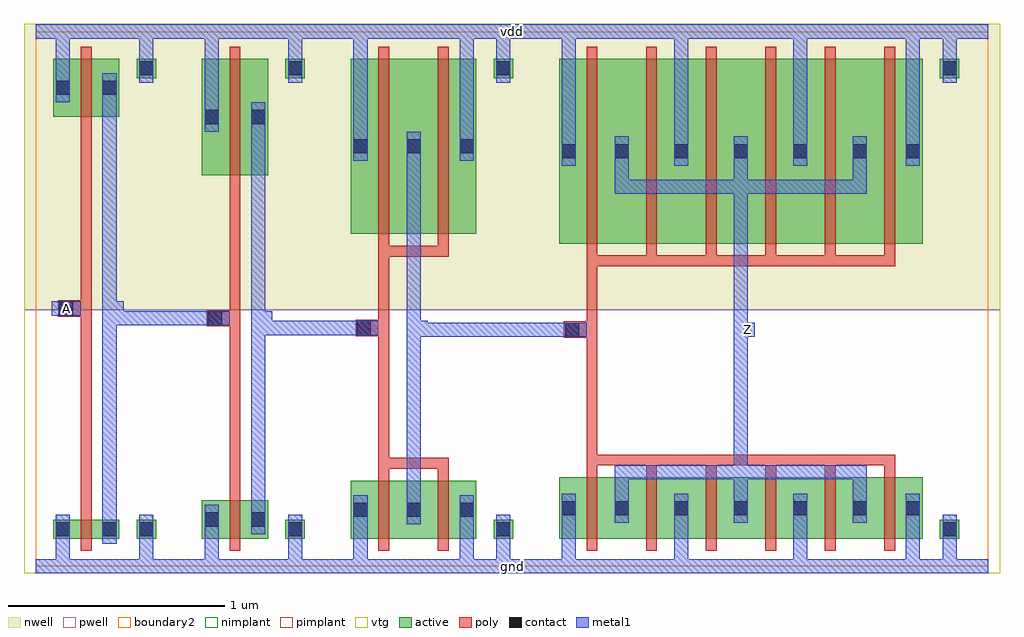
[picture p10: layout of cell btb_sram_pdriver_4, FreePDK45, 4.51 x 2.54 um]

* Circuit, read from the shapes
.subckt btb_sram_pdriver_4 A Z gnd vdd
M1 btb_sram_pinv_14_1/A A gnd gnd nfet w=0.09u l=0.05u
M2 btb_sram_pinv_15_2/A btb_sram_pinv_14_1/A gnd gnd nfet w=0.18u l=0.05u
M3 btb_sram_pinv_16_3/A btb_sram_pinv_15_2/A gnd gnd nfet w=0.27u l=0.05u m=2
M4 Z btb_sram_pinv_16_3/A gnd gnd nfet w=0.285u l=0.05u m=6
M5 btb_sram_pinv_14_1/A A vdd vdd pfet w=0.27u l=0.05u
M6 btb_sram_pinv_15_2/A btb_sram_pinv_14_1/A vdd vdd pfet w=0.54u l=0.05u
M7 btb_sram_pinv_16_3/A btb_sram_pinv_15_2/A vdd vdd pfet w=0.81u l=0.05u m=2
M8 Z btb_sram_pinv_16_3/A vdd vdd pfet w=0.855u l=0.05u m=6
.ends

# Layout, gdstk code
import gdstk
lib = gdstk.Library(unit=1e-6, precision=5e-10)
def R(c, l, rs):  # rectangles x0, y0, x1, y1
    for r in rs: c.add(gdstk.rectangle(r[:2], r[2:], *l))
def A(c, l, x, y, w, h, nx, ny, dx, dy):  # array of equal rectangles
    R(c, l, [(x+i*dx, y+j*dy, x+i*dx+w, y+j*dy+h) for i in range(nx) for j in range(ny)])
active = (1, 0)
pwell = (2, 0)
nwell = (3, 0)
nimplant = (4, 0)
pimplant = (5, 0)
vtg = (6, 0)
poly = (9, 0)
contact = (10, 0)
metal1 = (11, 0)
boundary2 = (239, 0)

btb_sram_contact_11 = lib.new_cell('btb_sram_contact_11')
R(btb_sram_contact_11, active, [(0,0.0225,0.09,0.1125)])
R(btb_sram_contact_11, nwell, [(-0.055,-0.0325,0.145,0.1675)])
R(btb_sram_contact_11, pimplant, [(0,0.0225,0.09,0.1125)])
R(btb_sram_contact_11, contact, [(0.0125,0.035,0.0775,0.1)])
R(btb_sram_contact_11, metal1, [(0.0125,0,0.0775,0.135)])
R(btb_sram_contact_11, boundary2, [(-0.055,-0.0325,0.145,0.1675)])

btb_sram_pmos_m1_w0_270_ = lib.new_cell('btb_sram_pmos_m1_w0_270_sm1_dm1_da_p')
R(btb_sram_pmos_m1_w0_270_, active, [(0,0,0.305,0.27)])
R(btb_sram_pmos_m1_w0_270_, nwell, [(-0.08,-0.08,0.385,0.35)])
R(btb_sram_pmos_m1_w0_270_, pimplant, [(0,0,0.305,0.27)])
R(btb_sram_pmos_m1_w0_270_, vtg, [(-0.08,-0.08,0.385,0.35)])
R(btb_sram_pmos_m1_w0_270_, poly, [(0.1275,-0.055,0.1775,0.325), (0.1275,-0.055,0.1775,0.325)])
R(btb_sram_pmos_m1_w0_270_, metal1, [(0.0125,0.0675,0.0775,0.2025), (0.2275,0.0675,0.2925,0.2025)])
R(btb_sram_pmos_m1_w0_270_, boundary2, [(-0.08,-0.08,0.385,0.35)])
btb_sram_pmos_m1_w0_270_.add(gdstk.Reference(btb_sram_contact_11, (0,0.0675)))
btb_sram_pmos_m1_w0_270_.add(gdstk.Reference(btb_sram_contact_11, (0.215,0.0675)))
btb_sram_pmos_m1_w0_270_.add(gdstk.Label('G', (0.1525,0.135), layer=9, texttype=0))
btb_sram_pmos_m1_w0_270_.add(gdstk.Label('S', (0.045,0.135), layer=11, texttype=0))
btb_sram_pmos_m1_w0_270_.add(gdstk.Label('D', (0.26,0.135), layer=11, texttype=0))

btb_sram_contact_10 = lib.new_cell('btb_sram_contact_10')
R(btb_sram_contact_10, active, [(0,0.0225,0.09,0.1125)])
R(btb_sram_contact_10, pwell, [(-0.055,-0.0325,0.145,0.1675)])
R(btb_sram_contact_10, nimplant, [(0,0.0225,0.09,0.1125)])
R(btb_sram_contact_10, contact, [(0.0125,0.035,0.0775,0.1)])
R(btb_sram_contact_10, metal1, [(0.0125,0,0.0775,0.135)])
R(btb_sram_contact_10, boundary2, [(-0.055,-0.0325,0.145,0.1675)])

btb_sram_nmos_m1_w0_090_ = lib.new_cell('btb_sram_nmos_m1_w0_090_sm1_dm1_da_p')
R(btb_sram_nmos_m1_w0_090_, active, [(0,0,0.305,0.09)])
R(btb_sram_nmos_m1_w0_090_, pwell, [(-0.08,-0.08,0.385,0.17)])
R(btb_sram_nmos_m1_w0_090_, nimplant, [(0,0,0.305,0.09)])
R(btb_sram_nmos_m1_w0_090_, vtg, [(-0.08,-0.08,0.385,0.17)])
R(btb_sram_nmos_m1_w0_090_, poly, [(0.1275,-0.055,0.1775,0.145), (0.1275,-0.055,0.1775,0.145)])
R(btb_sram_nmos_m1_w0_090_, metal1, [(0.0125,-0.0225,0.0775,0.1125), (0.2275,-0.0225,0.2925,0.1125)])
R(btb_sram_nmos_m1_w0_090_, boundary2, [(-0.08,-0.08,0.385,0.17)])
btb_sram_nmos_m1_w0_090_.add(gdstk.Reference(btb_sram_contact_10, (0,-0.0225)))
btb_sram_nmos_m1_w0_090_.add(gdstk.Reference(btb_sram_contact_10, (0.215,-0.0225)))
btb_sram_nmos_m1_w0_090_.add(gdstk.Label('G', (0.1525,0.045), layer=9, texttype=0))
btb_sram_nmos_m1_w0_090_.add(gdstk.Label('S', (0.045,0.045), layer=11, texttype=0))
btb_sram_nmos_m1_w0_090_.add(gdstk.Label('D', (0.26,0.045), layer=11, texttype=0))

btb_sram_contact_12 = lib.new_cell('btb_sram_contact_12')
R(btb_sram_contact_12, active, [(0,0.0225,0.09,0.1125)])
R(btb_sram_contact_12, nwell, [(-0.055,-0.0325,0.145,0.1675)])
R(btb_sram_contact_12, nimplant, [(0,0.0225,0.09,0.1125)])
R(btb_sram_contact_12, contact, [(0.0125,0.035,0.0775,0.1)])
R(btb_sram_contact_12, metal1, [(0.0125,0,0.0775,0.135)])
R(btb_sram_contact_12, boundary2, [(-0.055,-0.0325,0.145,0.1675)])

btb_sram_contact_13 = lib.new_cell('btb_sram_contact_13')
R(btb_sram_contact_13, active, [(0,0.0225,0.09,0.1125)])
R(btb_sram_contact_13, pwell, [(-0.055,-0.0325,0.145,0.1675)])
R(btb_sram_contact_13, pimplant, [(0,0.0225,0.09,0.1125)])
R(btb_sram_contact_13, contact, [(0.0125,0.035,0.0775,0.1)])
R(btb_sram_contact_13, metal1, [(0.0125,0,0.0775,0.135)])
R(btb_sram_contact_13, boundary2, [(-0.055,-0.0325,0.145,0.1675)])

btb_sram_contact_14 = lib.new_cell('btb_sram_contact_14')
R(btb_sram_contact_14, poly, [(0.03,0,0.105,0.075)])
R(btb_sram_contact_14, contact, [(0.035,0.005,0.1,0.07)])
R(btb_sram_contact_14, metal1, [(0,0.005,0.135,0.07)])
R(btb_sram_contact_14, boundary2, [(0,0,0.135,0.075)])

btb_sram_pinv_6 = lib.new_cell('btb_sram_pinv_6')
R(btb_sram_pinv_6, pwell, [(-0.055,-0.0325,0.7425,1.185)])
R(btb_sram_pinv_6, nwell, [(-0.055,1.185,0.7425,2.505)])
R(btb_sram_pinv_6, vtg, [(-0.055,-0.0325,0.7425,1.185), (-0.055,1.185,0.7425,2.505)])
R(btb_sram_pinv_6, poly, [(0.2075,0.27,0.2575,2.02), (0.14,1.1525,0.2075,1.2275)])
R(btb_sram_pinv_6, metal1, [(0,-0.0325,0.6875,0.0325), (0.0925,-0.0325,0.1575,0.1025), (0.4775,0,0.5425,0.17), (0.3075,0.1025,0.3725,2.2775), (0.0725,1.1575,0.2075,1.2225), (0.34,1.1575,0.405,1.2225), (0.0925,2.1425,0.1575,2.5025), (0.4775,2.3,0.5425,2.47), (0,2.4375,0.6875,2.5025)])
R(btb_sram_pinv_6, boundary2, [(0,0,0.6875,2.47), (0,0,0.6875,2.47)])
btb_sram_pinv_6.add(gdstk.Reference(btb_sram_pmos_m1_w0_270_, (0.08,2.075)))
btb_sram_pinv_6.add(gdstk.Reference(btb_sram_nmos_m1_w0_090_, (0.08,0.125)))
btb_sram_pinv_6.add(gdstk.Reference(btb_sram_contact_12, (0.465,2.2325)))
btb_sram_pinv_6.add(gdstk.Reference(btb_sram_contact_13, (0.465,0.1025)))
btb_sram_pinv_6.add(gdstk.Reference(btb_sram_contact_14, (0.0725,1.1525)))
btb_sram_pinv_6.add(gdstk.Label('A', (0.14,1.19), layer=11, texttype=0))
btb_sram_pinv_6.add(gdstk.Label('Z', (0.3725,1.19), layer=11, texttype=0))
btb_sram_pinv_6.add(gdstk.Label('gnd', (0.344,0), layer=11, texttype=0))
btb_sram_pinv_6.add(gdstk.Label('vdd', (0.344,2.47), layer=11, texttype=0))

btb_sram_pmos_m1_w0_540_ = lib.new_cell('btb_sram_pmos_m1_w0_540_sm1_dm1_da_p')
R(btb_sram_pmos_m1_w0_540_, active, [(0,0,0.305,0.54)])
R(btb_sram_pmos_m1_w0_540_, nwell, [(-0.08,-0.08,0.385,0.62)])
R(btb_sram_pmos_m1_w0_540_, pimplant, [(0,0,0.305,0.54)])
R(btb_sram_pmos_m1_w0_540_, vtg, [(-0.08,-0.08,0.385,0.62)])
R(btb_sram_pmos_m1_w0_540_, poly, [(0.1275,-0.055,0.1775,0.595), (0.1275,-0.055,0.1775,0.595)])
R(btb_sram_pmos_m1_w0_540_, metal1, [(0.0125,0.2025,0.0775,0.3375), (0.2275,0.2025,0.2925,0.3375)])
R(btb_sram_pmos_m1_w0_540_, boundary2, [(-0.08,-0.08,0.385,0.62)])
btb_sram_pmos_m1_w0_540_.add(gdstk.Reference(btb_sram_contact_11, (0,0.2025)))
btb_sram_pmos_m1_w0_540_.add(gdstk.Reference(btb_sram_contact_11, (0.215,0.2025)))
btb_sram_pmos_m1_w0_540_.add(gdstk.Label('G', (0.1525,0.27), layer=9, texttype=0))
btb_sram_pmos_m1_w0_540_.add(gdstk.Label('S', (0.045,0.27), layer=11, texttype=0))
btb_sram_pmos_m1_w0_540_.add(gdstk.Label('D', (0.26,0.27), layer=11, texttype=0))

btb_sram_nmos_m1_w0_180_ = lib.new_cell('btb_sram_nmos_m1_w0_180_sm1_dm1_da_p')
R(btb_sram_nmos_m1_w0_180_, active, [(0,0,0.305,0.18)])
R(btb_sram_nmos_m1_w0_180_, pwell, [(-0.08,-0.08,0.385,0.26)])
R(btb_sram_nmos_m1_w0_180_, nimplant, [(0,0,0.305,0.18)])
R(btb_sram_nmos_m1_w0_180_, vtg, [(-0.08,-0.08,0.385,0.26)])
R(btb_sram_nmos_m1_w0_180_, poly, [(0.1275,-0.055,0.1775,0.235), (0.1275,-0.055,0.1775,0.235)])
R(btb_sram_nmos_m1_w0_180_, metal1, [(0.0125,0.0225,0.0775,0.1575), (0.2275,0.0225,0.2925,0.1575)])
R(btb_sram_nmos_m1_w0_180_, boundary2, [(-0.08,-0.08,0.385,0.26)])
btb_sram_nmos_m1_w0_180_.add(gdstk.Reference(btb_sram_contact_10, (0,0.0225)))
btb_sram_nmos_m1_w0_180_.add(gdstk.Reference(btb_sram_contact_10, (0.215,0.0225)))
btb_sram_nmos_m1_w0_180_.add(gdstk.Label('G', (0.1525,0.09), layer=9, texttype=0))
btb_sram_nmos_m1_w0_180_.add(gdstk.Label('S', (0.045,0.09), layer=11, texttype=0))
btb_sram_nmos_m1_w0_180_.add(gdstk.Label('D', (0.26,0.09), layer=11, texttype=0))

btb_sram_pinv_14 = lib.new_cell('btb_sram_pinv_14')
R(btb_sram_pinv_14, pwell, [(-0.055,-0.0325,0.7425,1.185)])
R(btb_sram_pinv_14, nwell, [(-0.055,1.185,0.7425,2.505)])
R(btb_sram_pinv_14, vtg, [(-0.055,-0.0325,0.7425,1.185), (-0.055,1.185,0.7425,2.505)])
R(btb_sram_pinv_14, poly, [(0.2075,0.36,0.2575,1.75), (0.14,1.1075,0.2075,1.1825)])
R(btb_sram_pinv_14, metal1, [(0,-0.0325,0.6875,0.0325), (0.0925,-0.0325,0.1575,0.1475), (0.4775,0,0.5425,0.17), (0.3075,0.1475,0.3725,2.1425), (0.0725,1.1125,0.2075,1.1775), (0.34,1.1125,0.405,1.1775), (0.0925,2.0075,0.1575,2.5025), (0.4775,2.3,0.5425,2.47), (0,2.4375,0.6875,2.5025)])
R(btb_sram_pinv_14, boundary2, [(0,0,0.6875,2.47), (0,0,0.6875,2.47)])
btb_sram_pinv_14.add(gdstk.Reference(btb_sram_pmos_m1_w0_540_, (0.08,1.805)))
btb_sram_pinv_14.add(gdstk.Reference(btb_sram_nmos_m1_w0_180_, (0.08,0.125)))
btb_sram_pinv_14.add(gdstk.Reference(btb_sram_contact_12, (0.465,2.2325)))
btb_sram_pinv_14.add(gdstk.Reference(btb_sram_contact_13, (0.465,0.1025)))
btb_sram_pinv_14.add(gdstk.Reference(btb_sram_contact_14, (0.0725,1.1075)))
btb_sram_pinv_14.add(gdstk.Label('A', (0.14,1.145), layer=11, texttype=0))
btb_sram_pinv_14.add(gdstk.Label('Z', (0.3725,1.145), layer=11, texttype=0))
btb_sram_pinv_14.add(gdstk.Label('gnd', (0.344,0), layer=11, texttype=0))
btb_sram_pinv_14.add(gdstk.Label('vdd', (0.344,2.47), layer=11, texttype=0))

btb_sram_pmos_m2_w0_810_ = lib.new_cell('btb_sram_pmos_m2_w0_810_sm1_dm1_da_p')
R(btb_sram_pmos_m2_w0_810_, active, [(0,0,0.58,0.81)])
R(btb_sram_pmos_m2_w0_810_, nwell, [(-0.08,-0.08,0.66,0.89)])
R(btb_sram_pmos_m2_w0_810_, pimplant, [(0,0,0.58,0.81)])
R(btb_sram_pmos_m2_w0_810_, vtg, [(-0.08,-0.08,0.66,0.89)])
R(btb_sram_pmos_m2_w0_810_, poly, [(0.1275,-0.105,0.4525,-0.055), (0.1275,-0.055,0.1775,0.865), (0.4025,-0.055,0.4525,0.865)])
A(btb_sram_pmos_m2_w0_810_, metal1, 0.0125, 0.3375, 0.065, 0.135, 3, 1, 0.245, 0)
R(btb_sram_pmos_m2_w0_810_, boundary2, [(-0.08,-0.105,0.66,0.89)])
btb_sram_pmos_m2_w0_810_.add(gdstk.Reference(btb_sram_contact_11, (0,0.3375)))
btb_sram_pmos_m2_w0_810_.add(gdstk.Reference(btb_sram_contact_11, (0.245,0.3375)))
btb_sram_pmos_m2_w0_810_.add(gdstk.Reference(btb_sram_contact_11, (0.49,0.3375)))
btb_sram_pmos_m2_w0_810_.add(gdstk.Label('G', (0.29,-0.08), layer=9, texttype=0))
btb_sram_pmos_m2_w0_810_.add(gdstk.Label('S', (0.045,0.405), layer=11, texttype=0))
btb_sram_pmos_m2_w0_810_.add(gdstk.Label('S', (0.535,0.405), layer=11, texttype=0))
btb_sram_pmos_m2_w0_810_.add(gdstk.Label('D', (0.29,0.405), layer=11, texttype=0))

btb_sram_nmos_m2_w0_270_ = lib.new_cell('btb_sram_nmos_m2_w0_270_sm1_dm1_da_p')
R(btb_sram_nmos_m2_w0_270_, active, [(0,0,0.58,0.27)])
R(btb_sram_nmos_m2_w0_270_, pwell, [(-0.08,-0.08,0.66,0.35)])
R(btb_sram_nmos_m2_w0_270_, nimplant, [(0,0,0.58,0.27)])
R(btb_sram_nmos_m2_w0_270_, vtg, [(-0.08,-0.08,0.66,0.35)])
R(btb_sram_nmos_m2_w0_270_, poly, [(0.1275,-0.055,0.1775,0.325), (0.4025,-0.055,0.4525,0.325), (0.1275,0.325,0.4525,0.375)])
A(btb_sram_nmos_m2_w0_270_, metal1, 0.0125, 0.0675, 0.065, 0.135, 3, 1, 0.245, 0)
R(btb_sram_nmos_m2_w0_270_, boundary2, [(-0.08,-0.08,0.66,0.375)])
btb_sram_nmos_m2_w0_270_.add(gdstk.Reference(btb_sram_contact_10, (0,0.0675)))
btb_sram_nmos_m2_w0_270_.add(gdstk.Reference(btb_sram_contact_10, (0.245,0.0675)))
btb_sram_nmos_m2_w0_270_.add(gdstk.Reference(btb_sram_contact_10, (0.49,0.0675)))
btb_sram_nmos_m2_w0_270_.add(gdstk.Label('G', (0.29,0.35), layer=9, texttype=0))
btb_sram_nmos_m2_w0_270_.add(gdstk.Label('S', (0.045,0.135), layer=11, texttype=0))
btb_sram_nmos_m2_w0_270_.add(gdstk.Label('S', (0.535,0.135), layer=11, texttype=0))
btb_sram_nmos_m2_w0_270_.add(gdstk.Label('D', (0.29,0.135), layer=11, texttype=0))

btb_sram_pinv_15 = lib.new_cell('btb_sram_pinv_15')
R(btb_sram_pinv_15, pwell, [(-0.055,-0.0325,1.0175,1.185)])
R(btb_sram_pinv_15, nwell, [(-0.055,1.185,1.0175,2.505)])
R(btb_sram_pinv_15, vtg, [(-0.055,-0.0325,1.0175,1.185), (-0.055,1.185,1.0175,2.505)])
R(btb_sram_pinv_15, poly, [(0.2075,0.5,0.2575,1.43), (0.14,1.0625,0.2075,1.1375)])
R(btb_sram_pinv_15, metal1, [(0,-0.0325,0.9625,0.0325), (0.0925,-0.0325,0.1575,0.1925), (0.5825,-0.0325,0.6475,0.1925), (0.7525,0,0.8175,0.17), (0.3375,0.1925,0.4025,2.0075), (0.0725,1.0675,0.2075,1.1325), (0.37,1.0675,0.435,1.1325), (0.0925,1.8725,0.1575,2.5025), (0.5825,1.8725,0.6475,2.5025), (0.7525,2.3,0.8175,2.47), (0,2.4375,0.9625,2.5025)])
R(btb_sram_pinv_15, boundary2, [(0,0,0.9625,2.47), (0,0,0.9625,2.47)])
btb_sram_pinv_15.add(gdstk.Reference(btb_sram_pmos_m2_w0_810_, (0.08,1.535)))
btb_sram_pinv_15.add(gdstk.Reference(btb_sram_nmos_m2_w0_270_, (0.08,0.125)))
btb_sram_pinv_15.add(gdstk.Reference(btb_sram_contact_12, (0.74,2.2325)))
btb_sram_pinv_15.add(gdstk.Reference(btb_sram_contact_13, (0.74,0.1025)))
btb_sram_pinv_15.add(gdstk.Reference(btb_sram_contact_14, (0.0725,1.0625)))
btb_sram_pinv_15.add(gdstk.Label('A', (0.14,1.1), layer=11, texttype=0))
btb_sram_pinv_15.add(gdstk.Label('Z', (0.4025,1.1), layer=11, texttype=0))
btb_sram_pinv_15.add(gdstk.Label('gnd', (0.481,0), layer=11, texttype=0))
btb_sram_pinv_15.add(gdstk.Label('vdd', (0.481,2.47), layer=11, texttype=0))

btb_sram_pmos_m6_w0_855_ = lib.new_cell('btb_sram_pmos_m6_w0_855_sm1_dm1_da_p')
R(btb_sram_pmos_m6_w0_855_, active, [(0,0,1.68,0.855)])
R(btb_sram_pmos_m6_w0_855_, nwell, [(-0.08,-0.08,1.76,0.935)])
R(btb_sram_pmos_m6_w0_855_, pimplant, [(0,0,1.68,0.855)])
R(btb_sram_pmos_m6_w0_855_, vtg, [(-0.08,-0.08,1.76,0.935)])
A(btb_sram_pmos_m6_w0_855_, poly, 0.1275, -0.055, 0.05, 0.965, 6, 1, 0.275, 0)
R(btb_sram_pmos_m6_w0_855_, poly, [(0.1275,-0.105,1.5525,-0.055)])
A(btb_sram_pmos_m6_w0_855_, metal1, 0.2575, 0.2625, 0.065, 0.165, 3, 1, 0.55, 0)
R(btb_sram_pmos_m6_w0_855_, metal1, [(0.2575,0.23,1.4225,0.295), (0.0125,0.36,0.0775,0.495), (0.5325,0.36,0.5975,0.495), (1.0825,0.36,1.1475,0.495), (1.6025,0.36,1.6675,0.495)])
R(btb_sram_pmos_m6_w0_855_, boundary2, [(-0.08,-0.105,1.76,0.935)])
btb_sram_pmos_m6_w0_855_.add(gdstk.Reference(btb_sram_contact_11, (0,0.36)))
btb_sram_pmos_m6_w0_855_.add(gdstk.Reference(btb_sram_contact_11, (0.245,0.36)))
btb_sram_pmos_m6_w0_855_.add(gdstk.Reference(btb_sram_contact_11, (0.52,0.36)))
btb_sram_pmos_m6_w0_855_.add(gdstk.Reference(btb_sram_contact_11, (0.795,0.36)))
btb_sram_pmos_m6_w0_855_.add(gdstk.Reference(btb_sram_contact_11, (1.07,0.36)))
btb_sram_pmos_m6_w0_855_.add(gdstk.Reference(btb_sram_contact_11, (1.345,0.36)))
btb_sram_pmos_m6_w0_855_.add(gdstk.Reference(btb_sram_contact_11, (1.59,0.36)))
btb_sram_pmos_m6_w0_855_.add(gdstk.Label('G', (0.84,-0.08), layer=9, texttype=0))
btb_sram_pmos_m6_w0_855_.add(gdstk.Label('S', (1.115,0.4275), layer=11, texttype=0))
btb_sram_pmos_m6_w0_855_.add(gdstk.Label('S', (0.045,0.4275), layer=11, texttype=0))
btb_sram_pmos_m6_w0_855_.add(gdstk.Label('S', (1.635,0.4275), layer=11, texttype=0))
btb_sram_pmos_m6_w0_855_.add(gdstk.Label('S', (0.565,0.4275), layer=11, texttype=0))
btb_sram_pmos_m6_w0_855_.add(gdstk.Label('D', (0.84,0.2625), layer=11, texttype=0))

btb_sram_nmos_m6_w0_285_ = lib.new_cell('btb_sram_nmos_m6_w0_285_sm1_dm1_da_p')
R(btb_sram_nmos_m6_w0_285_, active, [(0,0,1.68,0.285)])
R(btb_sram_nmos_m6_w0_285_, pwell, [(-0.08,-0.08,1.76,0.365)])
R(btb_sram_nmos_m6_w0_285_, nimplant, [(0,0,1.68,0.285)])
R(btb_sram_nmos_m6_w0_285_, vtg, [(-0.08,-0.08,1.76,0.365)])
A(btb_sram_nmos_m6_w0_285_, poly, 0.1275, -0.055, 0.05, 0.395, 6, 1, 0.275, 0)
R(btb_sram_nmos_m6_w0_285_, poly, [(0.1275,0.34,1.5525,0.39)])
A(btb_sram_nmos_m6_w0_285_, metal1, 0.2575, 0.1425, 0.065, 0.165, 3, 1, 0.55, 0)
R(btb_sram_nmos_m6_w0_285_, metal1, [(0.0125,0.075,0.0775,0.21), (0.5325,0.075,0.5975,0.21), (1.0825,0.075,1.1475,0.21), (1.6025,0.075,1.6675,0.21), (0.2575,0.275,1.4225,0.34)])
R(btb_sram_nmos_m6_w0_285_, boundary2, [(-0.08,-0.08,1.76,0.39)])
btb_sram_nmos_m6_w0_285_.add(gdstk.Reference(btb_sram_contact_10, (0,0.075)))
btb_sram_nmos_m6_w0_285_.add(gdstk.Reference(btb_sram_contact_10, (0.245,0.075)))
btb_sram_nmos_m6_w0_285_.add(gdstk.Reference(btb_sram_contact_10, (0.52,0.075)))
btb_sram_nmos_m6_w0_285_.add(gdstk.Reference(btb_sram_contact_10, (0.795,0.075)))
btb_sram_nmos_m6_w0_285_.add(gdstk.Reference(btb_sram_contact_10, (1.07,0.075)))
btb_sram_nmos_m6_w0_285_.add(gdstk.Reference(btb_sram_contact_10, (1.345,0.075)))
btb_sram_nmos_m6_w0_285_.add(gdstk.Reference(btb_sram_contact_10, (1.59,0.075)))
btb_sram_nmos_m6_w0_285_.add(gdstk.Label('G', (0.84,0.365), layer=9, texttype=0))
btb_sram_nmos_m6_w0_285_.add(gdstk.Label('S', (1.635,0.1425), layer=11, texttype=0))
btb_sram_nmos_m6_w0_285_.add(gdstk.Label('S', (0.565,0.1425), layer=11, texttype=0))
btb_sram_nmos_m6_w0_285_.add(gdstk.Label('S', (0.045,0.1425), layer=11, texttype=0))
btb_sram_nmos_m6_w0_285_.add(gdstk.Label('S', (1.115,0.1425), layer=11, texttype=0))
btb_sram_nmos_m6_w0_285_.add(gdstk.Label('D', (0.84,0.3075), layer=11, texttype=0))

btb_sram_pinv_16 = lib.new_cell('btb_sram_pinv_16')
R(btb_sram_pinv_16, pwell, [(-0.055,-0.0325,2.1175,1.185)])
R(btb_sram_pinv_16, nwell, [(-0.055,1.185,2.1175,2.505)])
R(btb_sram_pinv_16, vtg, [(-0.055,-0.0325,2.1175,1.185), (-0.055,1.185,2.1175,2.505)])
R(btb_sram_pinv_16, poly, [(0.2075,0.515,0.2575,1.385), (0.14,1.055,0.2075,1.13)])
R(btb_sram_pinv_16, metal1, [(0,-0.0325,2.0625,0.0325), (0.0925,-0.0325,0.1575,0.2), (0.6125,-0.0325,0.6775,0.2), (1.1625,-0.0325,1.2275,0.2), (1.6825,-0.0325,1.7475,0.2), (1.8525,0,1.9175,0.17), (0.8875,0.4,0.9525,1.785), (0.0725,1.06,0.2075,1.125), (0.92,1.06,0.985,1.125), (0.0925,1.85,0.1575,2.5025), (0.6125,1.85,0.6775,2.5025), (1.1625,1.85,1.2275,2.5025), (1.6825,1.85,1.7475,2.5025), (1.8525,2.3,1.9175,2.47), (0,2.4375,2.0625,2.5025)])
R(btb_sram_pinv_16, boundary2, [(0,0,2.0625,2.47), (0,0,2.0625,2.47)])
btb_sram_pinv_16.add(gdstk.Reference(btb_sram_pmos_m6_w0_855_, (0.08,1.49)))
btb_sram_pinv_16.add(gdstk.Reference(btb_sram_nmos_m6_w0_285_, (0.08,0.125)))
btb_sram_pinv_16.add(gdstk.Reference(btb_sram_contact_12, (1.84,2.2325)))
btb_sram_pinv_16.add(gdstk.Reference(btb_sram_contact_13, (1.84,0.1025)))
btb_sram_pinv_16.add(gdstk.Reference(btb_sram_contact_14, (0.0725,1.055)))
btb_sram_pinv_16.add(gdstk.Label('A', (0.14,1.0925), layer=11, texttype=0))
btb_sram_pinv_16.add(gdstk.Label('Z', (0.9525,1.0925), layer=11, texttype=0))
btb_sram_pinv_16.add(gdstk.Label('gnd', (1.031,0), layer=11, texttype=0))
btb_sram_pinv_16.add(gdstk.Label('vdd', (1.031,2.47), layer=11, texttype=0))

btb_sram_pdriver_4 = lib.new_cell('btb_sram_pdriver_4')
R(btb_sram_pdriver_4, pwell, [(-0.055,-0.0325,4.455,1.185)])
R(btb_sram_pdriver_4, nwell, [(-0.055,1.185,4.455,2.505)])
R(btb_sram_pdriver_4, vtg, [(-0.055,-0.0325,4.455,1.185), (-0.055,1.185,4.455,2.505)])
R(btb_sram_pdriver_4, metal1, [(0,-0.0325,4.4,0.0325), (1.745,1.06,1.81,1.125), (1.7775,1.06,2.4775,1.125), (3.2575,1.06,3.3225,1.125), (1.0275,1.0675,1.0925,1.1325), (1.06,1.0675,1.515,1.1325), (1.745,1.0925,1.81,1.1), (1.0275,1.1,1.0925,1.145), (0.34,1.1125,0.405,1.1775), (0.3725,1.1125,0.8275,1.1775), (0.34,1.145,0.405,1.19), (0.0725,1.1575,0.2075,1.2225), (0,2.4375,4.4,2.5025)])
R(btb_sram_pdriver_4, boundary2, [(0,0,4.4,2.47), (0,0,4.4,2.47)])
btb_sram_pdriver_4.add(gdstk.Reference(btb_sram_pinv_6, (0,0)))
btb_sram_pdriver_4.add(gdstk.Reference(btb_sram_pinv_14, (0.6875,0)))
btb_sram_pdriver_4.add(gdstk.Reference(btb_sram_pinv_15, (1.375,0)))
btb_sram_pdriver_4.add(gdstk.Reference(btb_sram_pinv_16, (2.3375,0)))
btb_sram_pdriver_4.add(gdstk.Label('Z', (3.29,1.0925), layer=11, texttype=0))
btb_sram_pdriver_4.add(gdstk.Label('A', (0.14,1.19), layer=11, texttype=0))
btb_sram_pdriver_4.add(gdstk.Label('gnd', (2.2,0), layer=11, texttype=0))
btb_sram_pdriver_4.add(gdstk.Label('vdd', (2.2,2.47), layer=11, texttype=0))

lib.write_gds('btb_sram_pdriver_4.gds')
